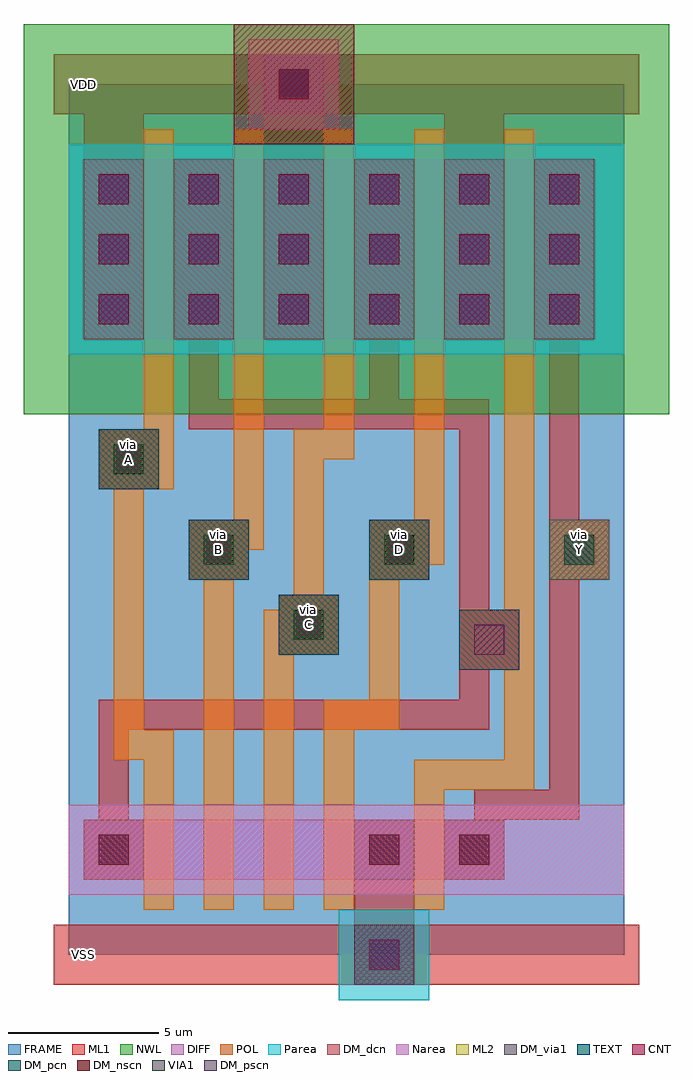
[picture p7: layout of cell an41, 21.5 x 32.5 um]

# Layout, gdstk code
import gdstk
lib = gdstk.Library(unit=1e-6, precision=1e-09)
def R(c, l, rs):  # rectangles x0, y0, x1, y1
    for r in rs: c.add(gdstk.rectangle(r[:2], r[2:], *l))
def A(c, l, x, y, w, h, nx, ny, dx, dy):  # array of equal rectangles
    R(c, l, [(x+i*dx, y+j*dy, x+i*dx+w, y+j*dy+h) for i in range(nx) for j in range(ny)])
NWL = (1, 0)
DIFF = (3, 0)
POL = (5, 0)
CNT = (7, 0)
ML1 = (8, 0)
VIA1 = (9, 0)
ML2 = (10, 0)
TEXT = (13, 0)
FRAME = (14, 0)
Parea = (18, 0)
Narea = (19, 0)
DM_dcn = (101, 0)
DM_pcn = (102, 0)
DM_nscn = (103, 0)
DM_pscn = (104, 0)
DM_via1 = (105, 0)

dcont = lib.new_cell('dcont')
R(dcont, DIFF, [(-1,-1,1,1)])
R(dcont, CNT, [(-0.5,-0.5,0.5,0.5)])
R(dcont, ML1, [(-1,-1,1,1)])
R(dcont, TEXT, [(-0.5,-0.5,0.5,0.5)])
R(dcont, DM_dcn, [(-1,-1,1,1)])
dcont.add(gdstk.Label('dcont', (0,0), layer=13, texttype=0))

via = lib.new_cell('Via')
R(via, ML1, [(-1,-1,1,1)])
R(via, VIA1, [(-0.5,-0.5,0.5,0.5)])
R(via, ML2, [(-1,-1,1,1)])
R(via, TEXT, [(-0.5,-0.5,0.5,0.5)])
R(via, DM_via1, [(-1,-1,1,1)])
via.add(gdstk.Label('via', (0,0), layer=13, texttype=0))

nsubcont = lib.new_cell('nsubcont')
R(nsubcont, NWL, [(-2,-2,2,2)])
R(nsubcont, Narea, [(-1.5,-1.5,1.5,1.5)])
R(nsubcont, DM_nscn, [(-2,-2,2,2)])
nsubcont.add(gdstk.Reference(dcont, (0,0)))
nsubcont.add(gdstk.Label('NScont', (0,0), layer=13, texttype=0))

psubcont = lib.new_cell('psubcont')
R(psubcont, Parea, [(-1.5,-1.5,1.5,1.5)])
R(psubcont, DM_pscn, [(-1,-1,1,1)])
psubcont.add(gdstk.Reference(dcont, (0,0)))
psubcont.add(gdstk.Label('PScon', (0,0), layer=13, texttype=0))

pcont = lib.new_cell('pcont')
R(pcont, POL, [(-1,-1,1,1)])
R(pcont, CNT, [(-0.5,-0.5,0.5,0.5)])
R(pcont, ML1, [(-1,-1,1,1)])
R(pcont, DM_pcn, [(-1,-1,1,1)])
pcont.add(gdstk.Label('pcont', (0,0), layer=13, texttype=0))

an41 = lib.new_cell('an41')
R(an41, NWL, [(-1.5,18,20,31)])
R(an41, DIFF, [(0.5,2.5,14.5,4.5), (0.5,20.5,17.5,26.5)])
A(an41, ML1, 4, 12.5, 2, 2, 3, 1, 6, 0)
R(an41, ML1, [(-0.5,-1,19,1), (7,10,9,12), (1,15.5,3,17.5), (-0.5,28,19,30)])
A(an41, ML2, 4, 12.5, 2, 2, 3, 1, 6, 0)
R(an41, ML2, [(7,10,9,12), (1,15.5,3,17.5)])
R(an41, FRAME, [(0,0,18.5,29)])
R(an41, Parea, [(0,20,18.5,27)])
R(an41, Narea, [(0,2,18.5,5)])
A(an41, DM_via1, 4, 12.5, 2, 2, 3, 1, 6, 0)
R(an41, DM_via1, [(7,10,9,12), (1,15.5,3,17.5)])
an41.add(gdstk.FlexPath([(3,27),(3,16),(2,16),(2,7),(3,7),(3,2)], 1, ends="extended", simple_path=True, layer=5, datatype=0))  # POL
an41.add(gdstk.FlexPath([(6,27),(6,14),(5,14),(5,2)], 1, ends="extended", simple_path=True, layer=5, datatype=0))  # POL
an41.add(gdstk.FlexPath([(9,27),(9,17),(8,17),(8,11),(7,11),(7,2)], 1, ends="extended", simple_path=True, layer=5, datatype=0))  # POL
an41.add(gdstk.FlexPath([(9,2),(9,8),(10.5,8),(10.5,13.5),(12,13.5),(12,27)], 1, ends="extended", simple_path=True, layer=5, datatype=0))  # POL
an41.add(gdstk.FlexPath([(15,27),(15,6),(12,6),(12,2)], 1, ends="extended", simple_path=True, layer=5, datatype=0))  # POL
an41.add(gdstk.FlexPath([(16.5,22.3),(16.5,25.5)], 1.4, ends="extended", simple_path=True, layer=8, datatype=0))  # ML1
an41.add(gdstk.FlexPath([(16.5,21.5),(16.5,5),(14,5),(14,3.8)], 1, ends="extended", simple_path=True, layer=8, datatype=0))  # ML1
an41.add(gdstk.FlexPath([(13.5,22.3),(13.5,25.5)], 1.4, ends="extended", simple_path=True, layer=8, datatype=0))  # ML1
an41.add(gdstk.FlexPath([(13.5,21.5),(13.5,28.5)], 2, ends="extended", simple_path=True, layer=8, datatype=0))  # ML1
an41.add(gdstk.FlexPath([(10.5,22.3),(10.5,25.5)], 1.4, ends="extended", simple_path=True, layer=8, datatype=0))  # ML1
an41.add(gdstk.FlexPath([(10.5,21.5),(10.5,18)], 1, ends="extended", simple_path=True, layer=8, datatype=0))  # ML1
an41.add(gdstk.FlexPath([(4.5,21.5),(4.5,18),(13.5,18),(13.5,8),(1.5,8),(1.5,3.8)], 1, ends="extended", simple_path=True, layer=8, datatype=0))  # ML1
an41.add(gdstk.FlexPath([(7.5,21.5),(7.5,29)], 2, ends="extended", simple_path=True, layer=8, datatype=0))  # ML1
an41.add(gdstk.FlexPath([(4.5,22.3),(4.5,25.5)], 1.4, ends="extended", simple_path=True, layer=8, datatype=0))  # ML1
an41.add(gdstk.FlexPath([(10.5,0),(10.5,3.5)], 2, ends="extended", simple_path=True, layer=8, datatype=0))  # ML1
an41.add(gdstk.FlexPath([(1.5,21.5),(1.5,28.5)], 2, ends="extended", simple_path=True, layer=8, datatype=0))  # ML1
an41.add(gdstk.Reference(dcont, (1.5,23.5)))
an41.add(gdstk.Reference(via, (8,11)))
an41.add(gdstk.Reference(nsubcont, (7.5,29)))
an41.add(gdstk.Reference(dcont, (13.5,23.5)))
an41.add(gdstk.Reference(psubcont, (10.5,0)))
an41.add(gdstk.Reference(dcont, (13.5,25.5)))
an41.add(gdstk.Reference(dcont, (7.5,23.5)))
an41.add(gdstk.Reference(pcont, (8,11)))
an41.add(gdstk.Reference(dcont, (4.5,21.5)))
an41.add(gdstk.Reference(dcont, (10.5,23.5)))
an41.add(gdstk.Reference(dcont, (7.5,25.5)))
an41.add(gdstk.Reference(via, (17,13.5)))
an41.add(gdstk.Reference(dcont, (13.5,21.5)))
an41.add(gdstk.Reference(dcont, (10.5,21.5)))
an41.add(gdstk.Reference(pcont, (5,13.5)))
an41.add(gdstk.Reference(dcont, (16.5,23.5)))
an41.add(gdstk.Reference(dcont, (16.5,25.5)))
an41.add(gdstk.Reference(pcont, (2,16.5)))
an41.add(gdstk.Reference(dcont, (1.5,25.5)))
an41.add(gdstk.Reference(dcont, (1.5,3.5)))
an41.add(gdstk.Reference(dcont, (4.5,23.5)))
an41.add(gdstk.Reference(dcont, (1.5,21.5)))
an41.add(gdstk.Reference(dcont, (7.5,21.5)))
an41.add(gdstk.Reference(dcont, (13.5,3.5)))
an41.add(gdstk.Reference(dcont, (10.5,3.5)))
an41.add(gdstk.Reference(dcont, (10.5,25.5)))
an41.add(gdstk.Reference(dcont, (4.5,25.5)))
an41.add(gdstk.Reference(pcont, (11,13.5)))
an41.add(gdstk.Reference(pcont, (14,10.5)))
an41.add(gdstk.Reference(via, (5,13.5)))
an41.add(gdstk.Reference(via, (2,16.5)))
an41.add(gdstk.Reference(dcont, (16.5,21.5)))
an41.add(gdstk.Reference(via, (11,13.5)))
an41.add(gdstk.Label('VSS', (0.5,0), layer=8, texttype=0))
an41.add(gdstk.Label('VDD', (0.5,29), layer=8, texttype=0))
an41.add(gdstk.Label('Y', (17,13.5), layer=10, texttype=0))
an41.add(gdstk.Label('D', (11,13.5), layer=10, texttype=0))
an41.add(gdstk.Label('C', (8,11), layer=10, texttype=0))
an41.add(gdstk.Label('B', (5,13.5), layer=10, texttype=0))
an41.add(gdstk.Label('A', (2,16.5), layer=10, texttype=0))
an41.add(gdstk.Label('via', (17,14), layer=13, texttype=0))
an41.add(gdstk.Label('via', (11,14), layer=13, texttype=0))
an41.add(gdstk.Label('via', (8,11.5), layer=13, texttype=0))
an41.add(gdstk.Label('via', (5,14), layer=13, texttype=0))
an41.add(gdstk.Label('via', (2,17), layer=13, texttype=0))

lib.write_gds('an41.gds')
